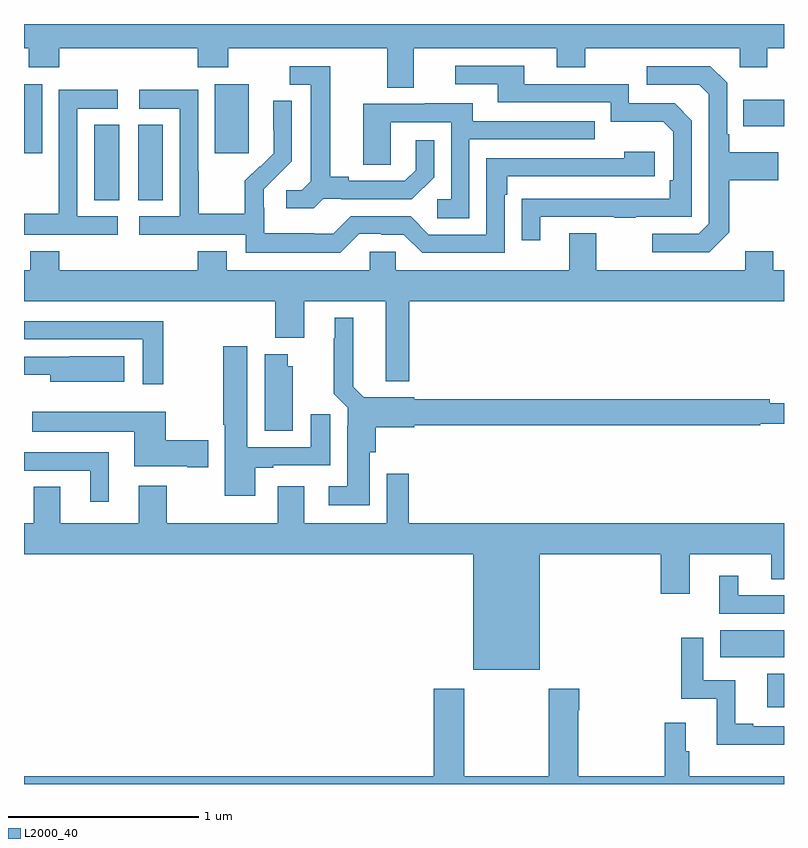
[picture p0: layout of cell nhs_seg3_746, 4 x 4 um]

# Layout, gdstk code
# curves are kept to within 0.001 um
import gdstk
lib = gdstk.Library(unit=1e-6, precision=1e-09)
def R(c, l, rs):  # rectangles x0, y0, x1, y1
    for r in rs: c.add(gdstk.rectangle(r[:2], r[2:], *l))
def P(c, l, *ps):  # polygons
    for p in ps: c.add(gdstk.Polygon(p, *l))
L2000_40 = (2000, 40)

nhs_seg3_746 = lib.new_cell('nhs_seg3_746')
R(nhs_seg3_746, L2000_40, [(152.912,674.804,153,674.98), (152.664,675.068,153,675.208), (149.369,677.473,149.5,677.87), (149.6,677.473,149.731,677.87), (149,677.721,149.095,678.082), (150.005,677.721,150.184,678.082), (152.785,677.861,153,678.001)])
P(nhs_seg3_746, L2000_40, [(151.051,678.272),(151.805,678.272),(151.805,678.173),(151.953,678.173),(151.953,678.272),(152.766,678.272),(152.766,678.173),(152.913,678.173),(152.913,678.272),(153,678.272),(153,678.4),(149,678.4),(149,678.272),(149.026,678.272),(149.026,678.173),(149.186,678.173),(149.186,678.272),(149.915,678.272),(149.915,678.173),(150.075,678.173),(150.075,678.272),(150.911,678.272),(150.911,678.064),(151.051,678.064)],
  [(151.717,677.385),(152.107,677.385),(152.107,677.38),(152.219,677.38),(152.219,677.385),(152.514,677.385),(152.514,677.892),(152.424,677.982),(152.184,677.982),(152.184,678.084),(151.633,678.084),(151.633,678.18),(151.269,678.18),(151.269,678.084),(151.493,678.084),(151.493,677.988),(152.088,677.988),(152.088,677.885),(152.365,677.885),(152.418,677.832),(152.418,677.578),(152.398,677.578),(152.398,677.481),(151.621,677.48),(151.621,677.262),(151.717,677.262)],
  [(152.713,677.305),(152.713,677.578),(152.969,677.578),(152.969,677.725),(152.713,677.725),(152.713,677.821),(152.7,677.821),(152.7,678.09),(152.613,678.177),(152.277,678.177),(152.277,678.081),(152.553,678.081),(152.604,678.03),(152.604,677.349),(152.55,677.295),(152.307,677.295),(152.307,677.199),(152.607,677.199)],
  [(150.576,677.481),(150.67,677.481),(150.67,677.478),(151.042,677.478),(151.158,677.594),(151.158,677.788),(151.061,677.788),(151.061,677.631),(151.004,677.574),(150.709,677.574),(150.709,677.597),(150.613,677.597),(150.613,678.177),(150.399,678.177),(150.399,678.081),(150.509,678.081),(150.509,677.573),(150.462,677.526),(150.381,677.526),(150.381,677.429),(150.524,677.429)],
  [(149.494,677.388),(149.28,677.388),(149.28,677.955),(149.494,677.955),(149.494,678.054),(149.184,678.054),(149.184,677.624),(149.182,677.624),(149.182,677.401),(149,677.401),(149,677.292),(149.494,677.292)],
  [(150.765,677.295),(150.881,677.295),(150.881,677.292),(150.999,677.292),(151.095,677.196),(151.53,677.196),(151.53,677.501),(151.543,677.501),(151.543,677.598),(152.32,677.598),(152.32,677.728),(152.159,677.728),(152.159,677.694),(151.434,677.694),(151.434,677.292),(151.131,677.292),(151.035,677.388),(150.72,677.388),(150.627,677.295),(150.527,677.295),(150.527,677.299),(150.264,677.299),(150.264,677.433),(150.262,677.433),(150.262,677.53),(150.408,677.678),(150.408,677.996),(150.312,677.996),(150.312,677.842),(150.314,677.842),(150.314,677.72),(150.243,677.649),(150.24,677.652),(150.163,677.575),(150.163,677.401),(149.919,677.401),(149.919,677.624),(149.916,677.624),(149.916,678.054),(149.607,678.054),(149.607,677.955),(149.82,677.955),(149.82,677.388),(149.607,677.388),(149.607,677.292),(150.168,677.292),(150.168,677.195),(150.665,677.195)],
  [(151.344,677.793),(152.003,677.793),(152.003,677.889),(151.363,677.889),(151.363,677.983),(151.109,677.983),(151.109,677.979),(150.785,677.979),(150.785,677.659),(150.93,677.659),(150.93,677.883),(151.248,677.883),(151.248,677.478),(151.176,677.478),(151.176,677.377),(151.344,677.377)],
  [(151.028,676.94),(153,676.94),(153,677.104),(152.943,677.104),(152.943,677.203),(152.795,677.203),(152.795,677.104),(152.011,677.104),(152.011,677.299),(151.871,677.299),(151.871,677.104),(150.957,677.104),(150.957,677.202),(150.819,677.202),(150.819,677.104),(150.067,677.104),(150.067,677.203),(149.915,677.203),(149.915,677.104),(149.186,677.104),(149.186,677.203),(149.033,677.203),(149.033,677.104),(149,677.104),(149,676.94),(150.323,676.94),(150.323,676.748),(150.475,676.748),(150.475,676.94),(150.905,676.94),(150.905,676.52),(151.028,676.52)],
  [(150.82,676.146),(150.851,676.146),(150.851,676.277),(151.054,676.277),(151.054,676.288),(152.875,676.288),(152.875,676.296),(153,676.296),(153,676.405),(152.924,676.405),(152.924,676.424),(151.054,676.424),(151.054,676.435),(150.789,676.435),(150.733,676.492),(150.733,676.855),(150.635,676.855),(150.635,676.745),(150.631,676.745),(150.631,676.454),(150.705,676.38),(150.705,676.286),(150.701,676.286),(150.701,675.967),(150.603,675.967),(150.603,675.866),(150.82,675.866)],
  [(149.734,676.836),(149,676.836),(149,676.74),(149.625,676.74),(149.625,676.503),(149.734,676.503)],
  [(150.217,676.065),(150.313,676.065),(150.313,676.077),(150.613,676.077),(150.613,676.345),(150.509,676.345),(150.509,676.173),(150.175,676.173),(150.175,676.705),(150.049,676.705),(150.049,676.291),(150.056,676.291),(150.056,675.918),(150.217,675.918)],
  [(150.415,676.599),(150.388,676.599),(150.388,676.663),(150.266,676.663),(150.266,676.258),(150.415,676.258)],
  [(149.527,676.651),(149.242,676.651),(149.242,676.65),(149,676.65),(149,676.553),(149.138,676.553),(149.138,676.517),(149.527,676.517)],
  [(149.971,676.208),(149.746,676.208),(149.746,676.36),(149.043,676.36),(149.043,676.253),(149.579,676.253),(149.579,676.073),(149.858,676.073),(149.858,676.066),(149.971,676.066)],
  [(149.446,676.146),(149,676.146),(149,676.05),(149.348,676.05),(149.348,675.885),(149.446,675.885)],
  [(151.714,675.608),(152.351,675.608),(152.351,675.402),(152.503,675.402),(152.503,675.608),(152.933,675.608),(152.933,675.478),(153,675.478),(153,675.772),(151.025,675.772),(151.025,676.033),(150.909,676.033),(150.909,675.772),(150.475,675.772),(150.475,675.967),(150.335,675.967),(150.335,675.772),(149.751,675.772),(149.751,675.97),(149.603,675.97),(149.603,675.772),(149.191,675.772),(149.191,675.965),(149.051,675.965),(149.051,675.772),(149,675.772),(149,675.608),(151.364,675.608),(151.364,675.002),(151.714,675.002)],
  [(153,675.393),(152.758,675.393),(152.758,675.496),(152.66,675.496),(152.66,675.297),(153,675.297)],
  [(153,674.703),(152.839,674.703),(152.839,674.716),(152.743,674.716),(152.743,674.946),(152.574,674.946),(152.574,675.169),(152.458,675.169),(152.458,674.85),(152.645,674.85),(152.645,674.606),(153,674.606)],
  [(153,674.44),(152.501,674.44),(152.501,674.573),(152.482,674.573),(152.482,674.722),(152.373,674.722),(152.373,674.44),(151.917,674.44),(151.917,674.789),(151.922,674.789),(151.922,674.902),(151.762,674.902),(151.762,674.44),(151.317,674.44),(151.317,674.902),(151.157,674.902),(151.157,674.44),(149,674.44),(149,674.4),(153,674.4)])

lib.write_gds('nhs_seg3_746.gds')
